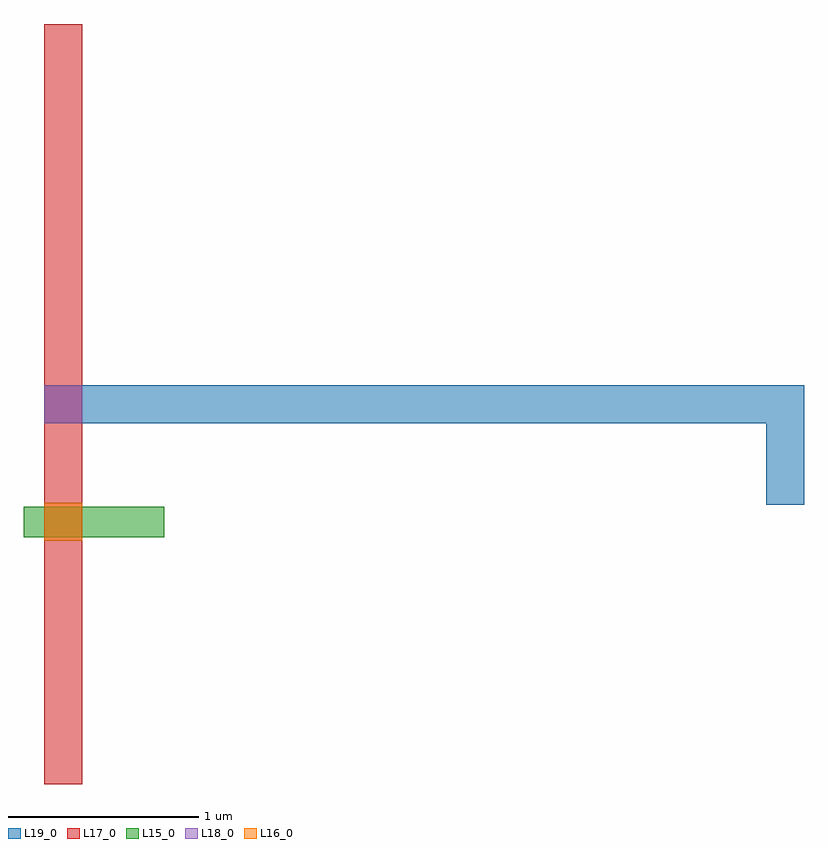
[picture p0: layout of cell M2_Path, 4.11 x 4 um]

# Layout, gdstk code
import gdstk
lib = gdstk.Library(unit=1e-6, precision=1e-09)
def R(c, l, rs):  # rectangles x0, y0, x1, y1
    for r in rs: c.add(gdstk.rectangle(r[:2], r[2:], *l))
L15_0 = (15, 0)
L16_0 = (16, 0)
L17_0 = (17, 0)
L18_0 = (18, 0)
L19_0 = (19, 0)

m2_path = lib.new_cell('M2_Path')
R(m2_path, L16_0, [(0,1.28,0.2,1.48)])
R(m2_path, L18_0, [(0,1.9,0.2,2.1)])
m2_path.add(gdstk.FlexPath([(0.1,0),(0.1,4)], 0.2, ends="flush", simple_path=True, layer=17, datatype=0))  # L17_0
m2_path.add(gdstk.FlexPath([(0,2),(3.9,2),(3.9,1.47)], 0.2, ends="flush", simple_path=True, layer=19, datatype=0))  # L19_0
m2_path.add(gdstk.FlexPath([(-0.11,1.38),(0.63,1.38)], 0.16, ends="flush", simple_path=True, layer=15, datatype=0))  # L15_0

lib.write_gds('M2_Path.gds')
